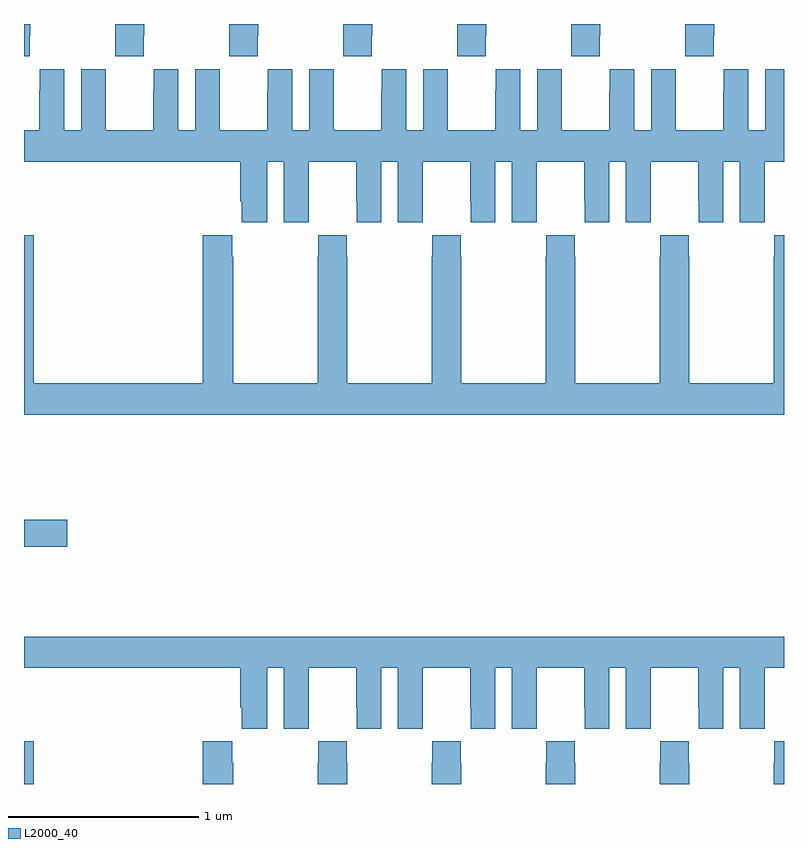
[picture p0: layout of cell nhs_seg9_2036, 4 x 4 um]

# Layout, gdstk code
import gdstk
lib = gdstk.Library(unit=1e-6, precision=1e-09)
def R(c, l, rs):  # rectangles x0, y0, x1, y1
    for r in rs: c.add(gdstk.rectangle(r[:2], r[2:], *l))
def P(c, l, *ps):  # polygons
    for p in ps: c.add(gdstk.Polygon(p, *l))
L2000_40 = (2000, 40)

nhs_seg9_2036 = lib.new_cell('nhs_seg9_2036')
R(nhs_seg9_2036, L2000_40, [(227,1170.5,227.051,1170.724), (227,1171.75,227.227,1171.892)])
P(nhs_seg9_2036, L2000_40, [(230.031,1174.441),(230.034,1174.441),(230.034,1174.5),(229.879,1174.5),(229.879,1174.441),(229.881,1174.441),(229.881,1174.329),(230.031,1174.329)],
  [(229.279,1174.441),(229.281,1174.441),(229.281,1174.329),(229.431,1174.329),(229.431,1174.441),(229.434,1174.441),(229.434,1174.5),(229.279,1174.5)],
  [(228.831,1174.441),(228.834,1174.441),(228.834,1174.5),(228.679,1174.5),(228.679,1174.441),(228.681,1174.441),(228.681,1174.329),(228.831,1174.329)],
  [(228.231,1174.441),(228.234,1174.441),(228.234,1174.5),(228.079,1174.5),(228.079,1174.441),(228.081,1174.441),(228.081,1174.329),(228.231,1174.329)],
  [(227.631,1174.441),(227.634,1174.441),(227.634,1174.5),(227.479,1174.5),(227.479,1174.441),(227.481,1174.441),(227.481,1174.329),(227.631,1174.329)],
  [(227.031,1174.441),(227.034,1174.441),(227.034,1174.5),(227,1174.5),(227,1174.329),(227.031,1174.329)],
  [(230.631,1174.441),(230.634,1174.441),(230.634,1174.5),(230.479,1174.5),(230.479,1174.441),(230.481,1174.441),(230.481,1174.329),(230.631,1174.329)],
  [(229.831,1174.148),(229.83,1174.148),(229.83,1174.261),(229.7,1174.261),(229.7,1173.94),(229.612,1173.94),(229.612,1174.261),(229.482,1174.261),(229.482,1174.148),(229.481,1174.148),(229.481,1173.94),(229.231,1173.94),(229.231,1174.148),(229.23,1174.148),(229.23,1174.261),(229.1,1174.261),(229.1,1173.94),(229.012,1173.94),(229.012,1174.261),(228.882,1174.261),(228.882,1174.148),(228.881,1174.148),(228.881,1173.94),(228.631,1173.94),(228.631,1174.148),(228.63,1174.148),(228.63,1174.261),(228.5,1174.261),(228.5,1173.94),(228.412,1173.94),(228.412,1174.261),(228.282,1174.261),(228.282,1174.148),(228.281,1174.148),(228.281,1173.94),(228.031,1173.94),(228.031,1174.148),(228.03,1174.148),(228.03,1174.261),(227.9,1174.261),(227.9,1173.94),(227.812,1173.94),(227.812,1174.261),(227.682,1174.261),(227.682,1174.148),(227.681,1174.148),(227.681,1173.94),(227.431,1173.94),(227.431,1174.148),(227.43,1174.148),(227.43,1174.261),(227.3,1174.261),(227.3,1173.94),(227.212,1173.94),(227.212,1174.261),(227.082,1174.261),(227.082,1174.148),(227.081,1174.148),(227.081,1173.94),(227,1173.94),(227,1173.776),(228.137,1173.776),(228.137,1173.568),(228.146,1173.568),(228.146,1173.456),(228.28,1173.456),(228.28,1173.776),(228.368,1173.776),(228.368,1173.456),(228.498,1173.456),(228.498,1173.568),(228.499,1173.568),(228.499,1173.776),(228.749,1173.776),(228.749,1173.568),(228.75,1173.568),(228.75,1173.456),(228.88,1173.456),(228.88,1173.776),(228.968,1173.776),(228.968,1173.456),(229.098,1173.456),(229.098,1173.568),(229.099,1173.568),(229.099,1173.776),(229.349,1173.776),(229.349,1173.568),(229.35,1173.568),(229.35,1173.456),(229.48,1173.456),(229.48,1173.776),(229.568,1173.776),(229.568,1173.456),(229.698,1173.456),(229.698,1173.568),(229.699,1173.568),(229.699,1173.776),(229.949,1173.776),(229.949,1173.568),(229.95,1173.568),(229.95,1173.456),(230.08,1173.456),(230.08,1173.776),(230.168,1173.776),(230.168,1173.456),(230.298,1173.456),(230.298,1173.568),(230.299,1173.568),(230.299,1173.776),(230.549,1173.776),(230.549,1173.568),(230.55,1173.568),(230.55,1173.456),(230.68,1173.456),(230.68,1173.776),(230.768,1173.776),(230.768,1173.456),(230.898,1173.456),(230.898,1173.568),(230.899,1173.568),(230.899,1173.776),(231,1173.776),(231,1174.261),(230.9,1174.261),(230.9,1173.94),(230.812,1173.94),(230.812,1174.261),(230.682,1174.261),(230.682,1174.148),(230.681,1174.148),(230.681,1173.94),(230.431,1173.94),(230.431,1174.148),(230.43,1174.148),(230.43,1174.261),(230.3,1174.261),(230.3,1173.94),(230.212,1173.94),(230.212,1174.261),(230.082,1174.261),(230.082,1174.148),(230.081,1174.148),(230.081,1173.94),(229.831,1173.94)],
  [(231,1173.388),(230.949,1173.388),(230.949,1173.275),(230.947,1173.275),(230.947,1172.608),(230.502,1172.608),(230.502,1173.275),(230.499,1173.275),(230.499,1173.388),(230.349,1173.388),(230.349,1173.275),(230.347,1173.275),(230.347,1172.608),(229.902,1172.608),(229.902,1173.275),(229.899,1173.275),(229.899,1173.388),(229.749,1173.388),(229.749,1173.275),(229.747,1173.275),(229.747,1172.608),(229.302,1172.608),(229.302,1173.275),(229.299,1173.275),(229.299,1173.388),(229.149,1173.388),(229.149,1173.275),(229.147,1173.275),(229.147,1172.608),(228.702,1172.608),(228.702,1173.275),(228.699,1173.275),(228.699,1173.388),(228.549,1173.388),(228.549,1173.275),(228.547,1173.275),(228.547,1172.608),(228.102,1172.608),(228.102,1173.275),(228.095,1173.275),(228.095,1173.388),(227.942,1173.388),(227.942,1172.608),(227.051,1172.608),(227.051,1173.388),(227,1173.388),(227,1172.444),(231,1172.444)],
  [(228.28,1171.112),(228.368,1171.112),(228.368,1170.792),(228.498,1170.792),(228.498,1170.904),(228.499,1170.904),(228.499,1171.112),(228.749,1171.112),(228.749,1170.904),(228.75,1170.904),(228.75,1170.792),(228.88,1170.792),(228.88,1171.112),(228.968,1171.112),(228.968,1170.792),(229.098,1170.792),(229.098,1170.904),(229.099,1170.904),(229.099,1171.112),(229.349,1171.112),(229.349,1170.904),(229.35,1170.904),(229.35,1170.792),(229.48,1170.792),(229.48,1171.112),(229.568,1171.112),(229.568,1170.792),(229.698,1170.792),(229.698,1170.904),(229.699,1170.904),(229.699,1171.112),(229.949,1171.112),(229.949,1170.904),(229.95,1170.904),(229.95,1170.792),(230.08,1170.792),(230.08,1171.112),(230.168,1171.112),(230.168,1170.792),(230.298,1170.792),(230.298,1170.904),(230.299,1170.904),(230.299,1171.112),(230.549,1171.112),(230.549,1170.904),(230.55,1170.904),(230.55,1170.792),(230.68,1170.792),(230.68,1171.112),(230.768,1171.112),(230.768,1170.792),(230.898,1170.792),(230.898,1170.904),(230.899,1170.904),(230.899,1171.112),(231,1171.112),(231,1171.276),(227,1171.276),(227,1171.112),(228.137,1171.112),(228.137,1170.904),(228.146,1170.904),(228.146,1170.792),(228.28,1170.792)],
  [(228.102,1170.611),(228.095,1170.611),(228.095,1170.724),(227.942,1170.724),(227.942,1170.5),(228.102,1170.5)],
  [(231,1170.724),(230.949,1170.724),(230.949,1170.611),(230.947,1170.611),(230.947,1170.5),(231,1170.5)],
  [(230.502,1170.611),(230.499,1170.611),(230.499,1170.724),(230.349,1170.724),(230.349,1170.611),(230.347,1170.611),(230.347,1170.5),(230.502,1170.5)],
  [(229.902,1170.611),(229.899,1170.611),(229.899,1170.724),(229.749,1170.724),(229.749,1170.611),(229.747,1170.611),(229.747,1170.5),(229.902,1170.5)],
  [(229.302,1170.611),(229.299,1170.611),(229.299,1170.724),(229.149,1170.724),(229.149,1170.611),(229.147,1170.611),(229.147,1170.5),(229.302,1170.5)],
  [(228.702,1170.611),(228.699,1170.611),(228.699,1170.724),(228.549,1170.724),(228.549,1170.611),(228.547,1170.611),(228.547,1170.5),(228.702,1170.5)])

lib.write_gds('nhs_seg9_2036.gds')
